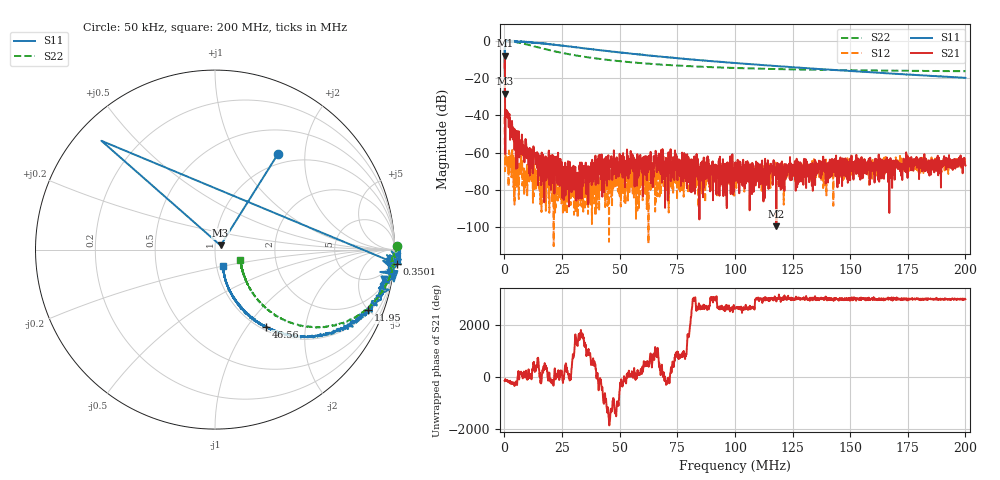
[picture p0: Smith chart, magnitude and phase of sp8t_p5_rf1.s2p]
! 26-Feb-26 12:18:24 PM
! E:\VNA_MEASUREMENTS\SP8T\SP8T_P5_RF1.S2P
! CHANNEL.1
! TR.MEASUREMENT
! CORRECTED.DATA
# GHZ S RI R 50.0
! FREQ.GHZ  S11RE  S11IM  S21RE  S21IM  S12RE  S12IM  S22RE  S22IM
!; PortSelection: Port_12
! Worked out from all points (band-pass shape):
!   2000 points, 50 kHz to 200 MHz, reference 50 ohm
!   highest |S21| = -7.81 dB at 150 kHz (marker M1); lowest = -99.7 dB at 118 MHz (marker M2)
!   |S21| within 3 dB of the highest: 103.7 kHz to 158.8 kHz (55.13 kHz wide, 42 % of centre)
!   lowest |S11| = -28.3 dB at 150 kHz (marker M3), VSWR 1.08, Z = 53.1 + j2.46 ohm
!   |S11| at or under -10 dB: 82.00858 MHz to 82.23142 MHz (222.8 kHz wide, 0.271 % of centre); 82.39841 MHz to 82.76811 MHz (369.7 kHz wide, 0.448 % of centre); 82.77 MHz to end of sweep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
!   |S22| runs from -16.3 to 0.1 dB; largest |S21 - S12| = 0.41
!   S11 on the Smith chart (normalised r, x): 50 kHz: 0.84, +1.51; 350.1 kHz: -5, -24; 11.95 MHz: 1.18, -4.96; 46.56 MHz: 1.05, -1.23; 200 MHz: 1.08, -0.20
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5e-05  0.3502 0.5317  -0.1666 -0.0977  0.00815 0.00391  1.016 0.0221
0.000150025  0.031 0.0231  -0.3986 -0.081  -0.000934 -0.000996  1.01 -0.00434
0.000350075  1.013 -0.0796  8.49e-05 -0.000916  -0.000421 0.000188  0.9946 -0.0335
0.0012503  0.9759 -0.0875  -0.00598 -0.00721  0.000143 0.000619  1 -0.0836
0.0028507  0.9846 -0.075  -0.00333 0.00215  -2.12e-05 -0.000568  0.9591 -0.1785
0.005051251  0.9928 -0.1523  0.000515 0.00235  0.0003 0.000475  0.8925 -0.2856
0.01195298  0.8513 -0.3378  -0.000465 0.000314  -8.59e-05 -0.000117  0.6083 -0.4328
0.01545385  0.781 -0.3991  0.000322 5.79e-05  -3.15e-05 0.000156  0.4996 -0.4255
0.02155538  0.6531 -0.4661  0.000431 -3e-06  6.85e-05 -0.000135  0.3689 -0.3855
0.02595648  0.5641 -0.4785  -6.97e-05 0.000219  -5.22e-05 -0.000181  0.3122 -0.3487
0.03345835  0.4376 -0.4826  -7.35e-05 0.000534  -1.96e-05 8.65e-05  0.253 -0.2956
0.04656163  0.2836 -0.4292  -0.000231 0.000338  -1.59e-05 0.000246  0.201 -0.2265
0.06676668  0.1684 -0.3509  0.000306 0.000316  0.000272 0.000308  0.1692 -0.1643
0.07676919  0.1371 -0.3095  -0.00038 0.000344  -9.68e-05 -1.72e-05  0.1617 -0.1439
0.07926981  0.1302 -0.2979  -0.000292 -0.00085  -9.63e-05 0.000426  0.16 -0.1404
0.08477119  0.1145 -0.2841  -0.000368 0.000201  -7.09e-05 0.000227  0.1569 -0.1315
0.100075  0.0884 -0.2421  -0.000202 0.000346  -0.000194 0.000173  0.1517 -0.1137
0.1179795  0.0696 -0.2001  1.03e-05 2e-07  -5.24e-05 0.000252  0.1482 -0.0968
0.1333833  0.0592 -0.1725  -0.000103 7.8e-05  -0.000138 0.000254  0.1463 -0.0864
0.1430858  0.056 -0.1577  0.000293 0.000328  0.000142 0.000317  0.1451 -0.081
0.1666917  0.0481 -0.1262  6.21e-05 0.000341  0.000222 0.000273  0.1437 -0.0712
0.2  0.0463 -0.0914  4.2e-05 0.000444  4.44e-05 0.000411  0.1418 -0.0596
